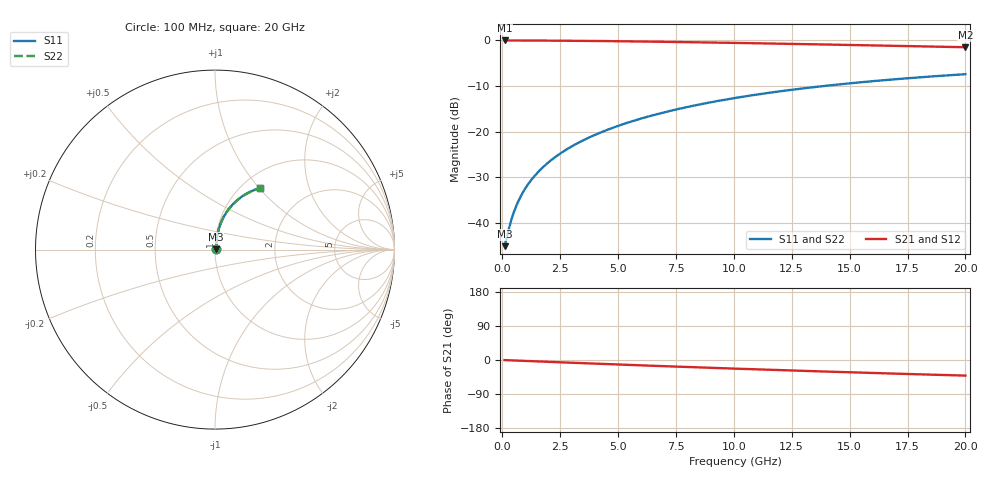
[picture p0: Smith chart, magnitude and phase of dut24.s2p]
! Touchstone file exported from HFSS 2024.1.0
!  File:  C:/UserFiles/LocalFiles/RDL_TSV_Batchsim/temp_RDL_bottom_24_1778691846.aedt
!  Generated:  01:07:00 AM May 14, 2026
!  Design:  RDL_bottom
!  Project:  temp_RDL_bottom_24_1778691846
!  Setup:  Setup1
!  Solution:  Sweep
! Variables:
!  dtsv = 10.80580581um
!  hbump = 3um
!  htsv = 53.6um
!  ldown = 545.7um
!  lrdl = 100um
!  p = 40
!  p1 = 48.59um
!  rhole = 1um
!  t = 450um
!  tdown = 2.27um
!  trdl = 3.915915916um
!  wdown = 17.66um
!  wrdl = 20um
# GHz S MA R 50.000000
! Terminal data exported
! Port[1] = RDL1_T1
! Port[2] = RDL1_T2
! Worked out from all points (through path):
!   200 points, 100 MHz to 20 GHz, reference 50 ohm
!   highest |S21| = -0.04 dB at 100 MHz (marker M1); lowest = -1.5 dB at 20 GHz (marker M2)
!   group delay of S21, straight-line fit = 5.71 ps
!   lowest |S11| = -45.0 dB at 100 MHz (marker M3), VSWR 1.01, Z = 50.5 + j0.248 ohm
!   |S11| at or under -10 dB: start of sweep to 13.89 GHz
!   |S22| runs from -45.0 to -7.4 dB; largest |S21 - S12| = 2.6e-15
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0.1  0.005609 25.9  0.995 -0.3  0.995 -0.3  0.005609 25.9
! Gamma 0 0 0 0
! Port Impedance 50 0 50 0
0.3  0.008986 54.1  0.9947 -0.8  0.9947 -0.8  0.008986 54.1
0.4  0.01106 60.6  0.9945 -1.0  0.9945 -1.0  0.01106 60.6
0.5  0.01321 64.9  0.9943 -1.3  0.9943 -1.3  0.01321 64.9
0.6  0.01538 67.9  0.9941 -1.5  0.9941 -1.5  0.01538 67.9
0.7  0.01756 70.1  0.9939 -1.7  0.9939 -1.7  0.01756 70.1
0.9  0.02194 73.2  0.9935 -2.2  0.9935 -2.2  0.02194 73.2
1.2  0.02854 76.1  0.9928 -2.9  0.9928 -2.9  0.02854 76.1
1.4  0.03297 77.4  0.9923 -3.4  0.9923 -3.4  0.03297 77.4
1.7  0.03965 78.7  0.9915 -4.1  0.9915 -4.1  0.03965 78.7
2.2  0.05091 80.0  0.9899 -5.3  0.9899 -5.3  0.05091 79.9
2.8  0.06457 80.6  0.9877 -6.8  0.9877 -6.8  0.06457 80.6
3.5  0.0807 80.7  0.9845 -8.4  0.9845 -8.4  0.0807 80.7
4.2  0.09701 80.3  0.9808 -10.0  0.9808 -10.0  0.09701 80.3
5  0.1158 79.6  0.9759 -11.9  0.9759 -11.9  0.1158 79.6
5.9  0.1371 78.5  0.9698 -13.9  0.9698 -13.9  0.1371 78.5
6.8  0.1583 77.2  0.9632 -15.9  0.9632 -15.9  0.1583 77.2
8.4  0.1959 74.6  0.9502 -19.4  0.9502 -19.4  0.1959 74.6
10.1  0.2349 71.5  0.9353 -22.9  0.9353 -22.9  0.2349 71.5
13.4  0.3062 65.4  0.9041 -29.4  0.9041 -29.4  0.3062 65.4
16.7  0.37 59.4  0.8716 -35.5  0.8716 -35.5  0.37 59.3
20  0.4256 53.7  0.839 -41.2  0.839 -41.2  0.4256 53.7
